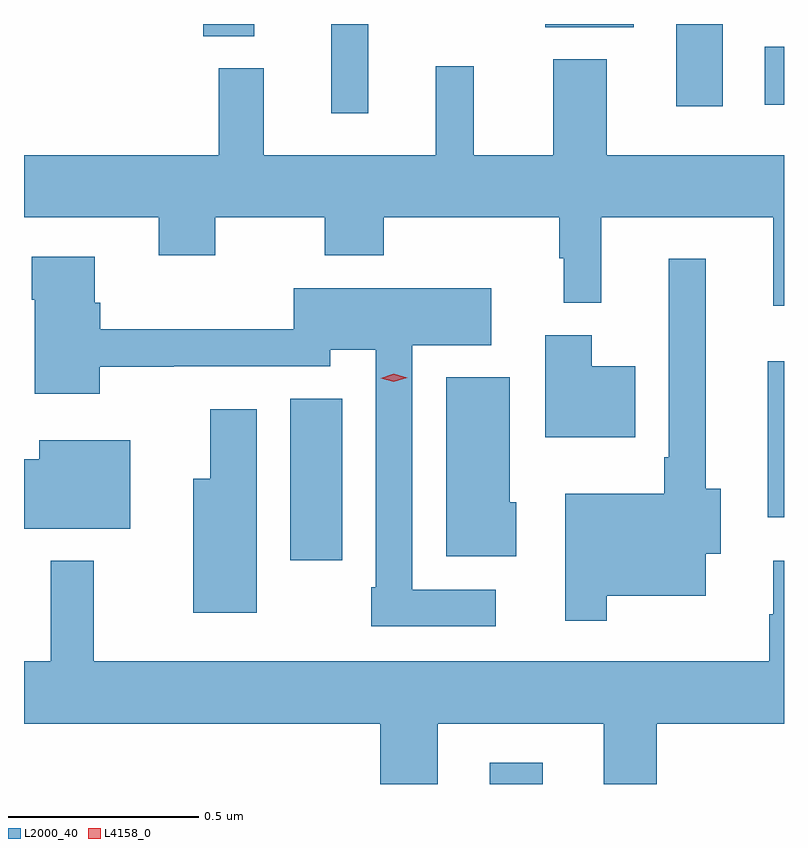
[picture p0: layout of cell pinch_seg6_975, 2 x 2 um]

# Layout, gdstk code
import gdstk
lib = gdstk.Library(unit=1e-6, precision=1e-09)
def R(c, l, rs):  # rectangles x0, y0, x1, y1
    for r in rs: c.add(gdstk.rectangle(r[:2], r[2:], *l))
def P(c, l, *ps):  # polygons
    for p in ps: c.add(gdstk.Polygon(p, *l))
L2000_40 = (2000, 40)
L4158_0 = (4158, 0)

pinch_seg6_975 = lib.new_cell('pinch_seg6_975')
R(pinch_seg6_975, L2000_40, [(311.951,927.197,312.091,927.253), (311.426,927.786,311.563,928.211), (312.683,927.899,312.726,928.309), (311.535,928.962,311.632,929.197), (312.443,928.98,312.565,929.197), (312.675,928.985,312.726,929.137), (311.198,929.165,311.332,929.197), (312.098,929.189,312.331,929.197)])
P(pinch_seg6_975, L2000_40, [(312.726,928.852),(312.259,928.852),(312.259,929.104),(312.119,929.104),(312.119,928.852),(311.909,928.852),(311.909,929.086),(311.81,929.086),(311.81,928.852),(311.357,928.852),(311.357,929.08),(311.239,929.08),(311.239,928.852),(310.726,928.852),(310.726,928.688),(311.081,928.688),(311.081,928.589),(311.229,928.589),(311.229,928.688),(311.518,928.688),(311.518,928.589),(311.673,928.589),(311.673,928.688),(312.135,928.688),(312.135,928.581),(312.146,928.581),(312.146,928.463),(312.245,928.463),(312.245,928.688),(312.698,928.688),(312.698,928.455),(312.726,928.455)],
  [(311.968,927.708),(311.748,927.708),(311.748,928.352),(311.956,928.352),(311.956,928.501),(311.436,928.501),(311.436,928.394),(310.927,928.394),(310.927,928.464),(310.912,928.464),(310.912,928.585),(310.747,928.585),(310.747,928.472),(310.754,928.472),(310.754,928.224),(310.925,928.224),(310.925,928.295),(311.12,928.295),(311.12,928.296),(311.532,928.296),(311.532,928.34),(311.652,928.34),(311.652,927.715),(311.64,927.715),(311.64,927.612),(311.968,927.612)],
  [(312.259,927.692),(312.52,927.692),(312.52,927.803),(312.559,927.803),(312.559,927.974),(312.52,927.974),(312.52,928.579),(312.423,928.579),(312.423,928.057),(312.411,928.057),(312.411,927.961),(312.15,927.961),(312.15,927.627),(312.259,927.627)],
  [(312.334,928.297),(312.22,928.297),(312.22,928.378),(312.098,928.378),(312.098,928.109),(312.334,928.109)],
  [(312.022,927.939),(312.004,927.939),(312.004,928.267),(311.837,928.267),(311.837,927.797),(312.022,927.797)],
  [(311.338,928.183),(311.216,928.183),(311.216,928),(311.171,928),(311.171,927.648),(311.338,927.648)],
  [(311.005,928.102),(310.766,928.102),(310.766,928.051),(310.726,928.051),(310.726,927.869),(311.005,927.869)],
  [(311.815,927.356),(312.251,927.356),(312.251,927.197),(312.391,927.197),(312.391,927.356),(312.726,927.356),(312.726,927.784),(312.698,927.784),(312.698,927.644),(312.687,927.644),(312.687,927.52),(310.91,927.52),(310.91,927.784),(310.797,927.784),(310.797,927.52),(310.726,927.52),(310.726,927.356),(311.663,927.356),(311.663,927.197),(311.815,927.197)])
P(pinch_seg6_975, L4158_0, [(311.699,928.256),(311.665,928.265),(311.664,928.265),(311.665,928.265),(311.699,928.276),(311.734,928.266),(311.734,928.266),(311.734,928.266)])

lib.write_gds('pinch_seg6_975.gds')
